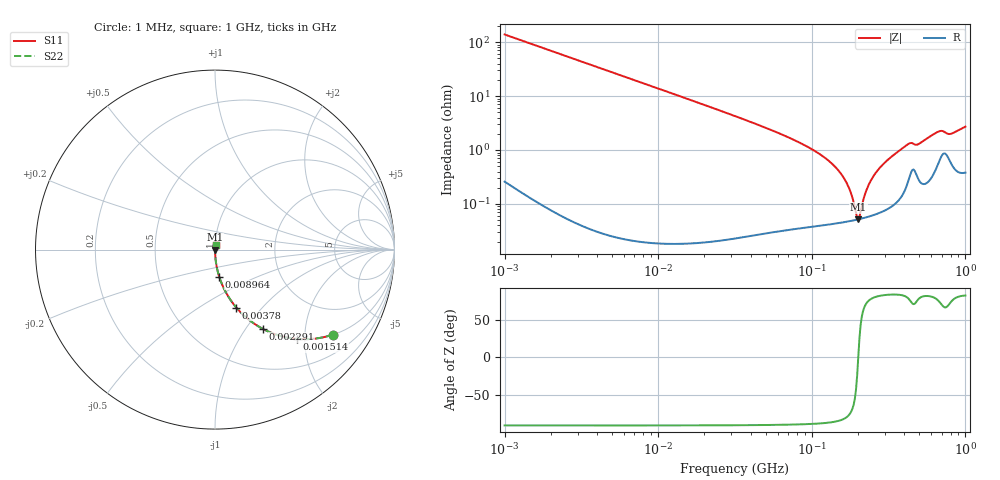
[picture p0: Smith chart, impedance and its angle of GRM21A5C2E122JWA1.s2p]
!Murata Part Number: GRM21A5C2E122JWA1
!These Parameters are Measured in Series Mode Connection
!Data Generated on Mar 30, 2021
!  o--ll--o
!Port1  Port2
!  o------o
!Operation Temp=25[degC], DC Bias Voltage=0[V]
!Freq. Start=1000[kHz] Stop=1000[MHz] 401[Steps]
# Hz S RI R 50
!Freq.(Hz) S11(Real) S11(Imag) S21(Real) S21(Imag) S12(Real) S12(Imag) S22(Real) S22(Imag)
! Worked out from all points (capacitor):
!   401 points, 1 MHz to 1 GHz, reference 50 ohm
!   read as one part in series: C = 1.15 nF near 1.035 MHz
!   lowest |Z| = 52 mohm at 200.7 MHz (marker M1)
!   series resonance near 200.6 MHz, so ESL is about 550 pH
!   S11 on the Smith chart (normalised r, x): 1 MHz: 1.01, -2.77; 1.514 MHz: 1.00, -1.83; 2.291 MHz: 1.00, -1.21; 3.78 MHz: 1.00, -0.73; 8.964 MHz: 1.00, -0.31; 1 GHz: 1.01, +0.05
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1000000  0.657 -0.4738  0.343 0.4738  0.343 0.4738  0.657 -0.4738
1513561  0.4557 -0.4974  0.5443 0.4974  0.5443 0.4974  0.4557 -0.4974
2290868  0.2678 -0.4423  0.7322 0.4423  0.7322 0.4423  0.2678 -0.4423
3180534  0.1595 -0.3657  0.8405 0.3657  0.8405 0.3657  0.1595 -0.3657
3780071  0.1185 -0.3227  0.8815 0.3227  0.8815 0.3227  0.1185 -0.3227
8963962  0.0234 -0.1505  0.9766 0.1505  0.9766 0.1505  0.0234 -0.1505
1.01158e7  0.0185 -0.134  0.9815 0.134  0.9815 0.134  0.0185 -0.134
3.162278e7  0.00204 -0.0425  0.998 0.0425  0.998 0.0425  0.00204 -0.0425
1.005773e8  0.000484 -0.0103  0.9995 0.0103  0.9995 0.0103  0.000484 -0.0103
1.303167e8  0.000456 -0.00613  0.9995 0.00613  0.9995 0.00613  0.000456 -0.00613
1.575796e8  0.000465 -0.00337  0.9995 0.00337  0.9995 0.00337  0.000465 -0.00337
1.747833e8  0.000482 -0.00191  0.9995 0.00191  0.9995 0.00191  0.000482 -0.00191
1.938653e8  0.000508 -0.000476  0.9995 0.000476  0.9995 0.000476  0.000508 -0.000476
2.006781e8  0.000519 2.5e-06  0.9995 -2.5e-06  0.9995 -2.5e-06  0.000519 2.5e-06
2.264644e8  0.000569 0.00169  0.9994 -0.00169  0.9994 -0.00169  0.000569 0.00169
2.42661e8  0.000608 0.00267  0.9994 -0.00267  0.9994 -0.00267  0.000608 0.00267
3.198895e8  0.00089 0.00692  0.9991 -0.00692  0.9991 -0.00692  0.00089 0.00692
4.290422e8  0.00307 0.0127  0.9969 -0.0127  0.9969 -0.0127  0.00307 0.0127
4.926063e8  0.00308 0.0124  0.9969 -0.0124  0.9969 -0.0124  0.00308 0.0124
6.722023e8  0.0064 0.0211  0.9936 -0.0211  0.9936 -0.0211  0.0064 0.0211
7.989139e8  0.00627 0.0187  0.9937 -0.0187  0.9937 -0.0187  0.00627 0.0187
1e9  0.00452 0.0267  0.9955 -0.0267  0.9955 -0.0267  0.00452 0.0267
